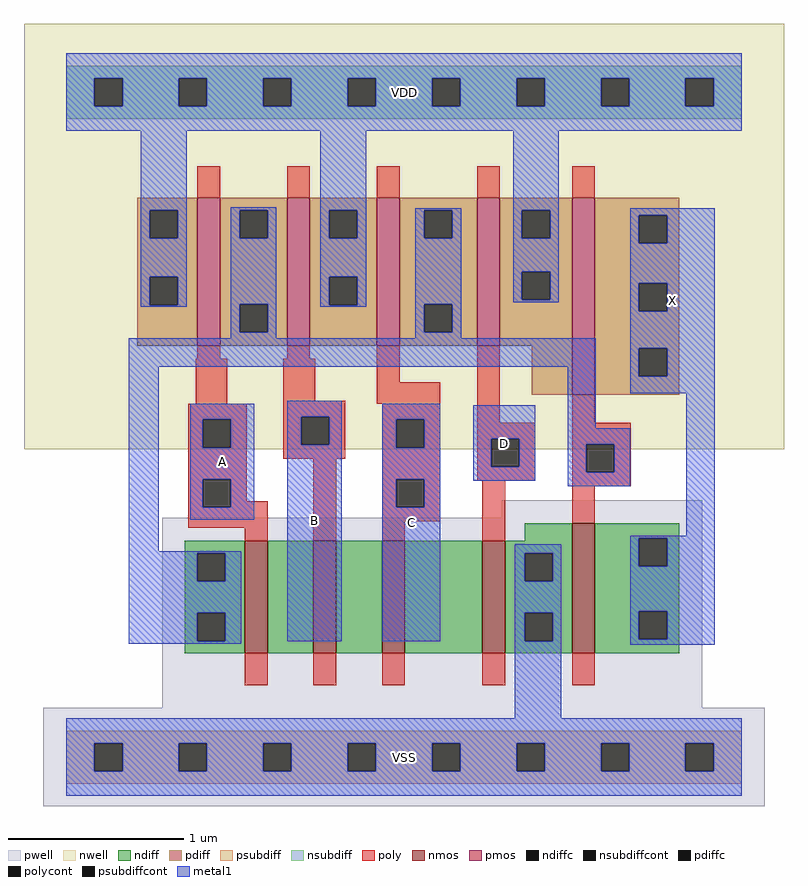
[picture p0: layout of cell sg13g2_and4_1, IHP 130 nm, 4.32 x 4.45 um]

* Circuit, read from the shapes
.subckt sg13g2_and4_1 X B A VDD VSS C D
XM1 n1 A n2 VSS sg13_lv_nmos w=0.64u l=0.13u
XM2 n3 B n1 VSS sg13_lv_nmos w=0.64u l=0.13u
XM3 n4 C n3 VSS sg13_lv_nmos w=0.64u l=0.13u
XM4 VSS D n4 VSS sg13_lv_nmos w=0.64u l=0.13u
XM5 X n2 VSS VSS sg13_lv_nmos w=0.74u l=0.13u
XM6 n2 A VDD VDD sg13_lv_pmos w=0.84u l=0.13u
XM7 VDD B n2 VDD sg13_lv_pmos w=0.84u l=0.13u
XM8 n2 C VDD VDD sg13_lv_pmos w=0.84u l=0.13u
XM9 VDD D n2 VDD sg13_lv_pmos w=0.84u l=0.13u
XM10 X n2 VDD VDD sg13_lv_pmos w=1.12u l=0.13u
.ends

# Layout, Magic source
magic
tech ihp-sg13g2
magscale 1 2
<< nwell >>
rect -48 350 816 834
<< pwell >>
rect 495 272 723 292
rect 109 56 723 272
rect -26 -56 794 56
<< nmos >>
rect 203 118 229 246
rect 281 118 307 246
rect 359 118 385 246
rect 473 118 499 246
rect 575 118 601 266
<< pmos >>
rect 149 468 175 636
rect 251 468 277 636
rect 353 468 379 636
rect 467 468 493 636
rect 575 412 601 636
<< ndiff >>
rect 521 246 575 266
rect 135 232 203 246
rect 135 200 149 232
rect 181 200 203 232
rect 135 164 203 200
rect 135 132 149 164
rect 181 132 203 164
rect 135 118 203 132
rect 229 118 281 246
rect 307 118 359 246
rect 385 118 473 246
rect 499 232 575 246
rect 499 200 521 232
rect 553 200 575 232
rect 499 164 575 200
rect 499 132 521 164
rect 553 132 575 164
rect 499 118 575 132
rect 601 249 697 266
rect 601 217 651 249
rect 683 217 697 249
rect 601 166 697 217
rect 601 134 651 166
rect 683 134 697 166
rect 601 118 697 134
<< pdiff >>
rect 81 622 149 636
rect 81 590 95 622
rect 127 590 149 622
rect 81 546 149 590
rect 81 514 95 546
rect 127 514 149 546
rect 81 468 149 514
rect 175 622 251 636
rect 175 590 197 622
rect 229 590 251 622
rect 175 515 251 590
rect 175 483 197 515
rect 229 483 251 515
rect 175 468 251 483
rect 277 622 353 636
rect 277 590 299 622
rect 331 590 353 622
rect 277 546 353 590
rect 277 514 299 546
rect 331 514 353 546
rect 277 468 353 514
rect 379 622 467 636
rect 379 590 407 622
rect 439 590 467 622
rect 379 515 467 590
rect 379 483 407 515
rect 439 483 467 515
rect 379 468 467 483
rect 493 622 575 636
rect 493 590 518 622
rect 550 590 575 622
rect 493 552 575 590
rect 493 520 518 552
rect 550 520 575 552
rect 493 468 575 520
rect 529 412 575 468
rect 601 616 697 636
rect 601 584 651 616
rect 683 584 697 616
rect 601 539 697 584
rect 601 507 651 539
rect 683 507 697 539
rect 601 465 697 507
rect 601 433 651 465
rect 683 433 697 465
rect 601 412 697 433
<< ndiffc >>
rect 149 200 181 232
rect 149 132 181 164
rect 521 200 553 232
rect 521 132 553 164
rect 651 217 683 249
rect 651 134 683 166
<< pdiffc >>
rect 95 590 127 622
rect 95 514 127 546
rect 197 590 229 622
rect 197 483 229 515
rect 299 590 331 622
rect 299 514 331 546
rect 407 590 439 622
rect 407 483 439 515
rect 518 590 550 622
rect 518 520 550 552
rect 651 584 683 616
rect 651 507 683 539
rect 651 433 683 465
<< psubdiff >>
rect 0 16 768 30
rect 0 -16 32 16
rect 64 -16 128 16
rect 160 -16 224 16
rect 256 -16 320 16
rect 352 -16 416 16
rect 448 -16 512 16
rect 544 -16 608 16
rect 640 -16 704 16
rect 736 -16 768 16
rect 0 -30 768 -16
<< nsubdiff >>
rect 0 772 768 786
rect 0 740 32 772
rect 64 740 128 772
rect 160 740 224 772
rect 256 740 320 772
rect 352 740 416 772
rect 448 740 512 772
rect 544 740 608 772
rect 640 740 704 772
rect 736 740 768 772
rect 0 726 768 740
<< psubdiffcont >>
rect 32 -16 64 16
rect 128 -16 160 16
rect 224 -16 256 16
rect 320 -16 352 16
rect 416 -16 448 16
rect 512 -16 544 16
rect 608 -16 640 16
rect 704 -16 736 16
<< nsubdiffcont >>
rect 32 740 64 772
rect 128 740 160 772
rect 224 740 256 772
rect 320 740 352 772
rect 416 740 448 772
rect 512 740 544 772
rect 608 740 640 772
rect 704 740 736 772
<< poly >>
rect 149 636 175 672
rect 251 636 277 672
rect 353 636 379 672
rect 467 636 493 672
rect 575 636 601 672
rect 149 453 175 468
rect 251 453 277 468
rect 147 402 183 453
rect 247 405 283 453
rect 353 426 379 468
rect 139 384 205 402
rect 139 352 155 384
rect 187 352 205 384
rect 139 316 205 352
rect 247 387 317 405
rect 353 402 425 426
rect 247 355 267 387
rect 299 355 317 387
rect 247 339 317 355
rect 359 384 425 402
rect 359 352 375 384
rect 407 352 425 384
rect 139 284 155 316
rect 187 291 205 316
rect 187 284 229 291
rect 139 261 229 284
rect 203 246 229 261
rect 281 246 307 339
rect 359 316 425 352
rect 359 284 375 316
rect 407 284 425 316
rect 467 380 493 468
rect 575 380 601 412
rect 467 362 533 380
rect 467 330 483 362
rect 515 330 533 362
rect 467 314 533 330
rect 575 356 642 380
rect 575 324 591 356
rect 623 324 642 356
rect 359 268 425 284
rect 359 246 385 268
rect 473 246 499 314
rect 575 308 642 324
rect 575 266 601 308
rect 203 82 229 118
rect 281 82 307 118
rect 359 82 385 118
rect 473 82 499 118
rect 575 82 601 118
<< polycont >>
rect 155 352 187 384
rect 267 355 299 387
rect 375 352 407 384
rect 155 284 187 316
rect 375 284 407 316
rect 483 330 515 362
rect 591 324 623 356
<< metal1 >>
rect 0 772 768 800
rect 0 740 32 772
rect 64 740 128 772
rect 160 740 224 772
rect 256 740 320 772
rect 352 740 416 772
rect 448 740 512 772
rect 544 740 608 772
rect 640 740 704 772
rect 736 740 768 772
rect 0 712 768 740
rect 85 622 137 712
rect 85 590 95 622
rect 127 590 137 622
rect 85 546 137 590
rect 85 514 95 546
rect 127 514 137 546
rect 85 512 137 514
rect 187 622 239 625
rect 187 590 197 622
rect 229 590 239 622
rect 187 515 239 590
rect 187 483 197 515
rect 229 483 239 515
rect 289 622 341 712
rect 289 590 299 622
rect 331 590 341 622
rect 289 546 341 590
rect 289 514 299 546
rect 331 514 341 546
rect 289 512 341 514
rect 397 622 449 624
rect 397 590 407 622
rect 439 590 449 622
rect 397 515 449 590
rect 508 622 560 712
rect 508 590 518 622
rect 550 590 560 622
rect 508 552 560 590
rect 508 520 518 552
rect 550 520 560 552
rect 508 517 560 520
rect 641 616 737 624
rect 641 584 651 616
rect 683 584 737 616
rect 641 539 737 584
rect 187 476 239 483
rect 397 483 407 515
rect 439 483 449 515
rect 397 476 449 483
rect 641 507 651 539
rect 683 507 737 539
rect 71 444 602 476
rect 71 234 105 444
rect 141 384 214 402
rect 141 352 155 384
rect 187 352 214 384
rect 141 316 214 352
rect 141 284 155 316
rect 187 284 214 316
rect 141 270 214 284
rect 251 387 313 405
rect 251 355 267 387
rect 299 355 313 387
rect 71 232 199 234
rect 71 200 149 232
rect 181 200 199 232
rect 71 164 199 200
rect 71 132 149 164
rect 181 132 199 164
rect 251 132 313 355
rect 359 384 425 402
rect 359 352 375 384
rect 407 352 425 384
rect 359 316 425 352
rect 359 284 375 316
rect 407 284 425 316
rect 463 362 533 400
rect 463 330 483 362
rect 515 330 533 362
rect 463 314 533 330
rect 570 374 602 444
rect 641 465 737 507
rect 641 433 651 465
rect 683 433 737 465
rect 641 414 737 433
rect 570 356 641 374
rect 570 324 591 356
rect 623 324 641 356
rect 570 308 641 324
rect 359 132 425 284
rect 705 252 737 414
rect 641 249 737 252
rect 510 232 563 242
rect 510 200 521 232
rect 553 200 563 232
rect 510 164 563 200
rect 510 132 521 164
rect 553 132 563 164
rect 71 129 199 132
rect 510 44 563 132
rect 641 217 651 249
rect 683 217 737 249
rect 641 166 737 217
rect 641 134 651 166
rect 683 134 737 166
rect 641 128 737 134
rect 0 16 768 44
rect 0 -16 32 16
rect 64 -16 128 16
rect 160 -16 224 16
rect 256 -16 320 16
rect 352 -16 416 16
rect 448 -16 512 16
rect 544 -16 608 16
rect 640 -16 704 16
rect 736 -16 768 16
rect 0 -44 768 -16
<< labels >>
flabel metal1 s 641 414 737 624 0 FreeSans 400 0 0 0 X
port 2 nsew
flabel metal1 s 251 132 313 405 0 FreeSans 400 0 0 0 B
port 3 nsew
flabel metal1 s 141 270 214 402 0 FreeSans 400 0 0 0 A
port 4 nsew
flabel metal1 s 0 712 768 800 0 FreeSans 400 0 0 0 VDD
port 5 nsew
flabel metal1 s 0 -44 768 44 0 FreeSans 400 0 0 0 VSS
port 6 nsew
flabel metal1 s 359 132 425 402 0 FreeSans 400 0 0 0 C
port 7 nsew
flabel metal1 s 463 314 533 400 0 FreeSans 400 0 0 0 D
port 8 nsew
<< properties >>
string FIXED_BBOX 0 0 768 756
string GDS_END 215344
string GDS_FILE ../gds/controller.gds
string GDS_START 209774
<< end >>
